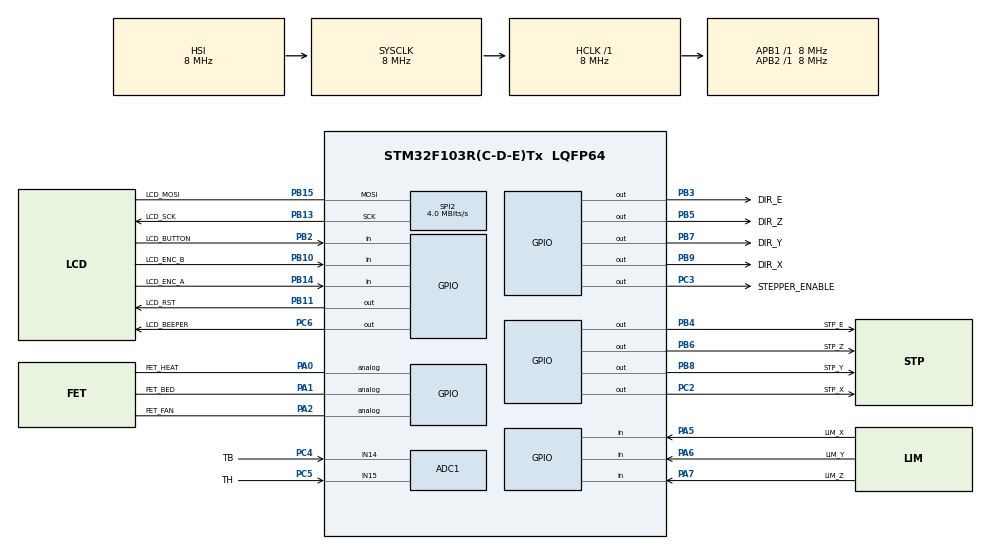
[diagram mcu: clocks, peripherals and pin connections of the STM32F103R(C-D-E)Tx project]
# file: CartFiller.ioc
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ADC1.Channel-3\#ChannelRegularConversion=ADC_CHANNEL_14
ADC1.NbrOfConversionFlag=1
ADC1.Rank-3\#ChannelRegularConversion=1
ADC1.SamplingTime-3\#ChannelRegularConversion=ADC_SAMPLETIME_1CYCLE_5
ADC1.master=1
Mcu.Family=STM32F1
Mcu.Name=STM32F103R(C-D-E)Tx
Mcu.Package=LQFP64
NVIC.PriorityGroup=NVIC_PRIORITYGROUP_4
PA0-WKUP.GPIO_Label=FET_HEAT
PA0-WKUP.Signal=GPIO_Analog
PA1.GPIO_Label=FET_BED
PA1.Signal=GPIO_Analog
PA13.GPIO_Label=SWDIO
PA13.Mode=Serial_Wire
PA13.Signal=SYS_JTMS-SWDIO
PA14.GPIO_Label=SWCLK
PA14.Mode=Serial_Wire
PA14.Signal=SYS_JTCK-SWCLK
PA2.GPIO_Label=FET_FAN
PA2.Signal=GPIO_Analog
PA5.GPIO_Label=LIM_X
PA5.Signal=GPIO_Input
PA6.GPIO_Label=LIM_Y
PA6.Signal=GPIO_Input
PA7.GPIO_Label=LIM_Z
PA7.Signal=GPIO_Input
PB10.GPIO_Label=LCD_ENC_B
PB10.Signal=GPIO_Input
PB11.GPIO_Label=LCD_RST
PB11.Signal=GPIO_Output
PB12.GPIO_Label=LCD_CS
PB12.Signal=SPI2_NSS
PB13.GPIO_Label=LCD_SCK
PB13.Mode=Simplex_Bidirectional_Master
PB13.Signal=SPI2_SCK
PB14.GPIO_Label=LCD_ENC_A
PB14.Signal=GPIO_Input
PB15.GPIO_Label=LCD_MOSI
PB15.Mode=Simplex_Bidirectional_Master
PB15.Signal=SPI2_MOSI
PB2.GPIO_Label=LCD_BUTTON
PB2.Signal=GPIO_Input
PB3.GPIO_Label=DIR_E
PB3.Signal=GPIO_Output
PB4.GPIO_Label=STP_E
PB4.Signal=GPIO_Output
PB5.GPIO_Label=DIR_Z
PB5.Signal=GPIO_Output
PB6.GPIO_Label=STP_Z
PB6.Signal=GPIO_Output
PB7.GPIO_Label=DIR_Y
PB7.Signal=GPIO_Output
PB8.GPIO_Label=STP_Y
PB8.Signal=GPIO_Output
PB9.GPIO_Label=DIR_X
PB9.Signal=GPIO_Output
PC2.GPIO_Label=STP_X
PC2.Signal=GPIO_Output
PC3.GPIO_Label=STEPPER_ENABLE
PC3.Signal=GPIO_Output
PC4.GPIO_Label=TB
PC4.GPIO_Mode=GPIO_MODE_ANALOG
PC4.Signal=SharedAnalog_PC4
PC5.GPIO_Label=TH
PC5.Signal=SharedAnalog_PC5
PC6.GPIO_Label=LCD_BEEPER
PC6.Signal=GPIO_Output
ProjectManager.HeapSize=0x200
ProjectManager.StackSize=0x400
ProjectManager.TargetToolchain=STM32CubeIDE
RCC.AHBFreq_Value=8000000
RCC.APB1Freq_Value=8000000
RCC.APB1TimFreq_Value=8000000
RCC.APB2Freq_Value=8000000
RCC.APB2TimFreq_Value=8000000
RCC.HCLKFreq_Value=8000000
RCC.SYSCLKFreq_VALUE=8000000
RCC.USBFreq_Value=8000000
SH.SharedAnalog_PC4.0=GPIO_Analog
SH.SharedAnalog_PC4.1=ADC1_IN14,IN14
SH.SharedAnalog_PC5.0=GPIO_Analog
SH.SharedAnalog_PC5.1=ADC1_IN15,IN15
SPI2.CalculateBaudRate=4.0 MBits/s
SPI2.Direction=SPI_DIRECTION_1LINE
SPI2.Mode=SPI_MODE_MASTER
SPI2.VirtualType=VM_MASTER
TIM1.Period=0xffff-1
TIM1.Prescaler=8-1
VP_TIM1_VS_ClockSourceINT.Mode=Internal
board=custom

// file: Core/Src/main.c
/* USER CODE BEGIN Header */
/**
  ******************************************************************************
  * @file           : main.c
  * @brief          : Main program body
  ******************************************************************************
  * @attention
  *
  * <h2><center>&copy; Copyright (c) 2021 STMicroelectronics.
  * All rights reserved.</center></h2>
  *
  * This software component is licensed by ST under BSD 3-Clause license,
  * the "License"; You may not use this file except in compliance with the
  * License. You may obtain a copy of the License at:
  *                        opensource.org/licenses/BSD-3-Clause
  *
  ******************************************************************************
  */
/* USER CODE END Header */
#include "main.h"

/* USER CODE BEGIN Includes */
#include "stm32f1xx_hal.h"
#include "stdio.h"
/* USER CODE END Includes */

ADC_HandleTypeDef hadc1;

SPI_HandleTypeDef hspi2;

TIM_HandleTypeDef htim1;

void SystemClock_Config(void);
static void MX_GPIO_Init(void);
static void MX_SPI2_Init(void);
static void MX_ADC1_Init(void);
static void MX_TIM1_Init(void);

/* USER CODE BEGIN 0 */

void delay_us (uint16_t us)
{
	__HAL_TIM_SET_COUNTER(&htim1,0);
	while (__HAL_TIM_GET_COUNTER(&htim1) < us);
}

void step(char Stepper_ID, long int Stepper_Steps, unsigned char Stepper_Dir)
{

	if (Stepper_ID == 'X'){
		for(int i = 0; i < Stepper_Steps; i++){
			HAL_GPIO_WritePin(GPIOC, GPIO_PIN_3, Stepper_Dir);
			HAL_Delay(1);
		}
	}
	else if (Stepper_ID == 'Y'){
		for(int i = 0; i < Stepper_Steps; i++){
			HAL_GPIO_WritePin(GPIOB, GPIO_PIN_8, Stepper_Dir);
			HAL_Delay(1);
		}
	}
	else if (Stepper_ID == 'Z'){
		for(int i = 0; i < Stepper_Steps; i++){
			HAL_GPIO_WritePin(GPIOB, GPIO_PIN_6, Stepper_Dir);
			HAL_Delay(1);
		}
	}
	else if (Stepper_ID == 'E'){
		for(int i = 0; i < Stepper_Steps; i++){
			HAL_GPIO_WritePin(GPIOB, GPIO_PIN_4, Stepper_Dir);
			HAL_Delay(1);
		}
	}
	else {
		printf("Incorrect Stepper_ID");
	}
}

/*void delay_us(uint16_t us){
	__HAL_TIM_SET_COUNTER(&htim1,0);
	while (__HAL_TIM_GET_COUNTER(&htim1) < us);
}
*/
/* USER CODE END 0 */

int main(void)
{

  /* MCU Configuration--------------------------------------------------------*/

  /* Reset of all peripherals, Initializes the Flash interface and the Systick. */
  HAL_Init();

  /* Configure the system clock */
  SystemClock_Config();

  /* Initialize all configured peripherals */
  MX_GPIO_Init();
  MX_SPI2_Init();
  MX_ADC1_Init();
  MX_TIM1_Init();
  /* USER CODE BEGIN 2 */
  HAL_TIM_Base_Start(&htim1);
  HAL_GPIO_WritePin(STEPPER_ENABLE_GPIO_Port, STEPPER_ENABLE_Pin, 0);
  HAL_Delay(10);
  /* USER CODE END 2 */

  /* Infinite loop */
  /* USER CODE BEGIN WHILE */
  while (1){
	  HAL_GPIO_TogglePin(DIR_Y_GPIO_Port, DIR_Y_Pin);
	  for(int i = 0;i < 9;i++){
		  HAL_GPIO_TogglePin(DIR_X_GPIO_Port, DIR_X_Pin);
		  HAL_Delay(200);
	  	  for(int i = 0;i < 9;i++){
	  		  for(int i = 0;i < 1100; i++){
	  			  HAL_GPIO_WritePin(STP_X_GPIO_Port, STP_X_Pin, 1);
	  			  delay_us(100);
	  			  HAL_GPIO_WritePin(STP_X_GPIO_Port, STP_X_Pin, 0);
	  			  delay_us(100);
		  	  	  }
	  		  HAL_Delay(200);
	  	  }
	  	  for(int i = 0;i < 1100; i++){
	  		  HAL_GPIO_WritePin(STP_Y_GPIO_Port, STP_Y_Pin, 1);
	  		  delay_us(100);
	  		  HAL_GPIO_WritePin(STP_Y_GPIO_Port, STP_Y_Pin, 0);
	  		  delay_us(100);
	  	  }
	  }
    /* USER CODE END WHILE */
  }
}

void SystemClock_Config(void)
{
  RCC_OscInitTypeDef RCC_OscInitStruct = {0};
  RCC_ClkInitTypeDef RCC_ClkInitStruct = {0};
  RCC_PeriphCLKInitTypeDef PeriphClkInit = {0};

  /** Initializes the RCC Oscillators according to the specified parameters
  * in the RCC_OscInitTypeDef structure.
  */
  RCC_OscInitStruct.OscillatorType = RCC_OSCILLATORTYPE_HSI;
  RCC_OscInitStruct.HSIState = RCC_HSI_ON;
  RCC_OscInitStruct.HSICalibrationValue = RCC_HSICALIBRATION_DEFAULT;
  RCC_OscInitStruct.PLL.PLLState = RCC_PLL_NONE;
  if (HAL_RCC_OscConfig(&RCC_OscInitStruct) != HAL_OK)
  {
    Error_Handler();
  }
  /** Initializes the CPU, AHB and APB buses clocks
  */
  RCC_ClkInitStruct.ClockType = RCC_CLOCKTYPE_HCLK|RCC_CLOCKTYPE_SYSCLK
                              |RCC_CLOCKTYPE_PCLK1|RCC_CLOCKTYPE_PCLK2;
  RCC_ClkInitStruct.SYSCLKSource = RCC_SYSCLKSOURCE_HSI;
  RCC_ClkInitStruct.AHBCLKDivider = RCC_SYSCLK_DIV1;
  RCC_ClkInitStruct.APB1CLKDivider = RCC_HCLK_DIV1;
  RCC_ClkInitStruct.APB2CLKDivider = RCC_HCLK_DIV1;

  if (HAL_RCC_ClockConfig(&RCC_ClkInitStruct, FLASH_LATENCY_0) != HAL_OK)
  {
    Error_Handler();
  }
  PeriphClkInit.PeriphClockSelection = RCC_PERIPHCLK_ADC;
  PeriphClkInit.AdcClockSelection = RCC_ADCPCLK2_DIV2;
  if (HAL_RCCEx_PeriphCLKConfig(&PeriphClkInit) != HAL_OK)
  {
    Error_Handler();
  }
}

static void MX_ADC1_Init(void)
{

  ADC_ChannelConfTypeDef sConfig = {0};

  /** Common config
  */
  hadc1.Instance = ADC1;
  hadc1.Init.ScanConvMode = ADC_SCAN_DISABLE;
  hadc1.Init.ContinuousConvMode = DISABLE;
  hadc1.Init.DiscontinuousConvMode = DISABLE;
  hadc1.Init.ExternalTrigConv = ADC_SOFTWARE_START;
  hadc1.Init.DataAlign = ADC_DATAALIGN_RIGHT;
  hadc1.Init.NbrOfConversion = 1;
  if (HAL_ADC_Init(&hadc1) != HAL_OK)
  {
    Error_Handler();
  }
  /** Configure Regular Channel
  */
  sConfig.Channel = ADC_CHANNEL_14;
  sConfig.Rank = ADC_REGULAR_RANK_1;
  sConfig.SamplingTime = ADC_SAMPLETIME_1CYCLE_5;
  if (HAL_ADC_ConfigChannel(&hadc1, &sConfig) != HAL_OK)
  {
    Error_Handler();
  }

}

static void MX_SPI2_Init(void)
{

  /* SPI2 parameter configuration*/
  hspi2.Instance = SPI2;
  hspi2.Init.Mode = SPI_MODE_MASTER;
  hspi2.Init.Direction = SPI_DIRECTION_1LINE;
  hspi2.Init.DataSize = SPI_DATASIZE_8BIT;
  hspi2.Init.CLKPolarity = SPI_POLARITY_LOW;
  hspi2.Init.CLKPhase = SPI_PHASE_1EDGE;
  hspi2.Init.NSS = SPI_NSS_SOFT;
  hspi2.Init.BaudRatePrescaler = SPI_BAUDRATEPRESCALER_2;
  hspi2.Init.FirstBit = SPI_FIRSTBIT_MSB;
  hspi2.Init.TIMode = SPI_TIMODE_DISABLE;
  hspi2.Init.CRCCalculation = SPI_CRCCALCULATION_DISABLE;
  hspi2.Init.CRCPolynomial = 10;
  if (HAL_SPI_Init(&hspi2) != HAL_OK)
  {
    Error_Handler();
  }

}

static void MX_TIM1_Init(void)
{

  TIM_ClockConfigTypeDef sClockSourceConfig = {0};
  TIM_MasterConfigTypeDef sMasterConfig = {0};

  htim1.Instance = TIM1;
  htim1.Init.Prescaler = 8-1;
  htim1.Init.CounterMode = TIM_COUNTERMODE_UP;
  htim1.Init.Period = 0xffff-1;
  htim1.Init.ClockDivision = TIM_CLOCKDIVISION_DIV1;
  htim1.Init.RepetitionCounter = 0;
  htim1.Init.AutoReloadPreload = TIM_AUTORELOAD_PRELOAD_DISABLE;
  if (HAL_TIM_Base_Init(&htim1) != HAL_OK)
  {
    Error_Handler();
  }
  sClockSourceConfig.ClockSource = TIM_CLOCKSOURCE_INTERNAL;
  if (HAL_TIM_ConfigClockSource(&htim1, &sClockSourceConfig) != HAL_OK)
  {
    Error_Handler();
  }
  sMasterConfig.MasterOutputTrigger = TIM_TRGO_RESET;
  sMasterConfig.MasterSlaveMode = TIM_MASTERSLAVEMODE_DISABLE;
  if (HAL_TIMEx_MasterConfigSynchronization(&htim1, &sMasterConfig) != HAL_OK)
  {
    Error_Handler();
  }

}

static void MX_GPIO_Init(void)
{
  GPIO_InitTypeDef GPIO_InitStruct = {0};

  /* GPIO Ports Clock Enable */
  __HAL_RCC_GPIOC_CLK_ENABLE();
  __HAL_RCC_GPIOA_CLK_ENABLE();
  __HAL_RCC_GPIOB_CLK_ENABLE();

  /*Configure GPIO pin Output Level */
  HAL_GPIO_WritePin(GPIOC, STP_X_Pin|STEPPER_ENABLE_Pin|LCD_BEEPER_Pin, GPIO_PIN_RESET);

  /*Configure GPIO pin Output Level */
  HAL_GPIO_WritePin(GPIOB, LCD_RST_Pin|DIR_E_Pin|STP_E_Pin|DIR_Z_Pin
                          |STP_Z_Pin|DIR_Y_Pin|STP_Y_Pin|DIR_X_Pin, GPIO_PIN_RESET);

  /*Configure GPIO pins : STP_X_Pin STEPPER_ENABLE_Pin LCD_BEEPER_Pin */
  GPIO_InitStruct.Pin = STP_X_Pin|STEPPER_ENABLE_Pin|LCD_BEEPER_Pin;
  GPIO_InitStruct.Mode = GPIO_MODE_OUTPUT_PP;
  GPIO_InitStruct.Pull = GPIO_NOPULL;
  GPIO_InitStruct.Speed = GPIO_SPEED_FREQ_LOW;
  HAL_GPIO_Init(GPIOC, &GPIO_InitStruct);

  /*Configure GPIO pins : FET_HEAT_Pin FET_BED_Pin FET_FAN_Pin */
  GPIO_InitStruct.Pin = FET_HEAT_Pin|FET_BED_Pin|FET_FAN_Pin;
  GPIO_InitStruct.Mode = GPIO_MODE_ANALOG;
  HAL_GPIO_Init(GPIOA, &GPIO_InitStruct);

  /*Configure GPIO pins : LIM_X_Pin LIM_Y_Pin LIM_Z_Pin */
  GPIO_InitStruct.Pin = LIM_X_Pin|LIM_Y_Pin|LIM_Z_Pin;
  GPIO_InitStruct.Mode = GPIO_MODE_INPUT;
  GPIO_InitStruct.Pull = GPIO_NOPULL;
  HAL_GPIO_Init(GPIOA, &GPIO_InitStruct);

  /*Configure GPIO pins : LCD_BUTTON_Pin LCD_ENC_B_Pin LCD_ENC_A_Pin */
  GPIO_InitStruct.Pin = LCD_BUTTON_Pin|LCD_ENC_B_Pin|LCD_ENC_A_Pin;
  GPIO_InitStruct.Mode = GPIO_MODE_INPUT;
  GPIO_InitStruct.Pull = GPIO_NOPULL;
  HAL_GPIO_Init(GPIOB, &GPIO_InitStruct);

  /*Configure GPIO pins : LCD_RST_Pin DIR_E_Pin STP_E_Pin DIR_Z_Pin
                           STP_Z_Pin DIR_Y_Pin STP_Y_Pin DIR_X_Pin */
  GPIO_InitStruct.Pin = LCD_RST_Pin|DIR_E_Pin|STP_E_Pin|DIR_Z_Pin
                          |STP_Z_Pin|DIR_Y_Pin|STP_Y_Pin|DIR_X_Pin;
  GPIO_InitStruct.Mode = GPIO_MODE_OUTPUT_PP;
  GPIO_InitStruct.Pull = GPIO_NOPULL;
  GPIO_InitStruct.Speed = GPIO_SPEED_FREQ_LOW;
  HAL_GPIO_Init(GPIOB, &GPIO_InitStruct);

}

void Error_Handler(void)
{
  __disable_irq();
  while (1)
  {
  }
}

/************************ (C) COPYRIGHT STMicroelectronics *****END OF FILE****/
